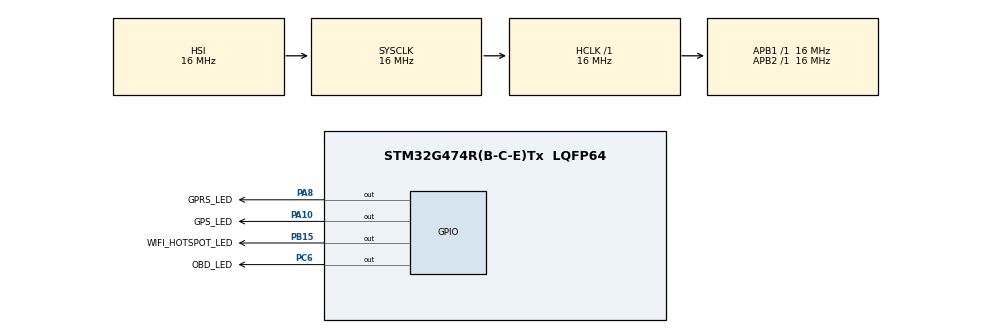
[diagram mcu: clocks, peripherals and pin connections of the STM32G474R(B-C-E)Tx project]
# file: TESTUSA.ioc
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Mcu.Family=STM32G4
Mcu.Name=STM32G474R(B-C-E)Tx
Mcu.Package=LQFP64
NVIC.PriorityGroup=NVIC_PRIORITYGROUP_4
PA10.GPIO_Label=GPS_LED
PA10.Signal=GPIO_Output
PA13.Mode=Serial_Wire
PA13.Signal=SYS_JTMS-SWDIO
PA14.Mode=Serial_Wire
PA14.Signal=SYS_JTCK-SWCLK
PA8.GPIO_Label=GPRS_LED
PA8.Signal=GPIO_Output
PB15.GPIO_Label=WIFI_HOTSPOT_LED
PB15.Signal=GPIO_Output
PC6.GPIO_Label=OBD_LED
PC6.Signal=GPIO_Output
ProjectManager.HeapSize=0x200
ProjectManager.StackSize=0x400
ProjectManager.TargetToolchain=STM32CubeIDE
RCC.ADC12Freq_Value=16000000
RCC.ADC345Freq_Value=16000000
RCC.AHBFreq_Value=16000000
RCC.APB1Freq_Value=16000000
RCC.APB1TimFreq_Value=16000000
RCC.APB2Freq_Value=16000000
RCC.APB2TimFreq_Value=16000000
RCC.CortexFreq_Value=16000000
RCC.EXTERNAL_CLOCK_VALUE=12288000
RCC.HCLKFreq_Value=16000000
RCC.HSE_VALUE=8000000
RCC.HSI48_VALUE=48000000
RCC.HSI_VALUE=16000000
RCC.LSE_VALUE=32768
RCC.SYSCLKFreq_VALUE=16000000
RCC.USBFreq_Value=64000000
RCC.VCOOutputFreq_Value=128000000
VP_SYS_VS_DBSignals.Mode=DisableDeadBatterySignals
board=custom

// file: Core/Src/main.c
/* USER CODE BEGIN Header */
/**
  ******************************************************************************
  * @file           : main.c
  * @brief          : Main program body
  ******************************************************************************
  * @attention
  *
  * Copyright (c) 2025 STMicroelectronics.
  * All rights reserved.
  *
  * This software is licensed under terms that can be found in the LICENSE file
  * in the root directory of this software component.
  * If no LICENSE file comes with this software, it is provided AS-IS.
  *
  ******************************************************************************
  */
/* USER CODE END Header */
#include "main.h"

void SystemClock_Config(void);
static void MX_GPIO_Init(void);

int main(void)
{

  /* USER CODE BEGIN 1 */
	int state = 0;
	uint32_t tickstart_1 = 0;
  /* USER CODE END 1 */

  /* MCU Configuration--------------------------------------------------------*/

  /* Reset of all peripherals, Initializes the Flash interface and the Systick. */
  HAL_Init();

  /* USER CODE BEGIN Init */
  SystemInit();
  /* USER CODE END Init */

  /* Configure the system clock */
  SystemClock_Config();

  /* USER CODE BEGIN SysInit */
  SystemCoreClockUpdate();
  /* USER CODE END SysInit */

  /* Initialize all configured peripherals */
  MX_GPIO_Init();
  /* USER CODE BEGIN 2 */
//  HAL_SYSTICK_Config(SystemCoreClock / 1000U);
  if (SysTick->CTRL == 0) {
      /* use CMSIS SysTick config */
      SysTick_Config(SystemCoreClock / 1000U);   // 1 ms tick
      /* ensure interrupt enabled */
      NVIC_SetPriority(SysTick_IRQn, (1UL << __NVIC_PRIO_BITS) - 1UL);
  }
  /* USER CODE END 2 */

  /* Infinite loop */
  while (1)
  {

    /* USER CODE BEGIN 3 */
	  if (state == 0) {
		  state = 1;
		  /*Configure GPIO pin Output Level */
			HAL_GPIO_WritePin(WIFI_HOTSPOT_LED_GPIO_Port, WIFI_HOTSPOT_LED_Pin, GPIO_PIN_RESET);

			/*Configure GPIO pin Output Level */
			HAL_GPIO_WritePin(OBD_LED_GPIO_Port, OBD_LED_Pin, GPIO_PIN_RESET);

			/*Configure GPIO pin Output Level */
			HAL_GPIO_WritePin(GPIOA, GPRS_LED_Pin|GPS_LED_Pin, GPIO_PIN_RESET);
	  } else {
		  state = 0;
		  /*Configure GPIO pin Output Level */
		    HAL_GPIO_WritePin(WIFI_HOTSPOT_LED_GPIO_Port, WIFI_HOTSPOT_LED_Pin, GPIO_PIN_SET);

		    /*Configure GPIO pin Output Level */
		    HAL_GPIO_WritePin(OBD_LED_GPIO_Port, OBD_LED_Pin, GPIO_PIN_SET);

		    /*Configure GPIO pin Output Level */
		    HAL_GPIO_WritePin(GPIOA, GPRS_LED_Pin|GPS_LED_Pin, GPIO_PIN_SET);
	  }
//	  if (tickstart_1 > 500){
//		  state = 0;
//	  }
	  HAL_Delay(500);
//	  tickstart_1 = HAL_GetTick();
  }
  /* USER CODE END 3 */
}

void SystemClock_Config(void)
{
  RCC_OscInitTypeDef RCC_OscInitStruct = {0};
  RCC_ClkInitTypeDef RCC_ClkInitStruct = {0};

  /** Configure the main internal regulator output voltage
  */
  HAL_PWREx_ControlVoltageScaling(PWR_REGULATOR_VOLTAGE_SCALE1);

  /** Initializes the RCC Oscillators according to the specified parameters
  * in the RCC_OscInitTypeDef structure.
  */
  RCC_OscInitStruct.OscillatorType = RCC_OSCILLATORTYPE_HSI;
  RCC_OscInitStruct.HSIState = RCC_HSI_ON;
  RCC_OscInitStruct.HSICalibrationValue = RCC_HSICALIBRATION_DEFAULT;
  RCC_OscInitStruct.PLL.PLLState = RCC_PLL_NONE;
  if (HAL_RCC_OscConfig(&RCC_OscInitStruct) != HAL_OK)
  {
    Error_Handler();
  }

  /** Initializes the CPU, AHB and APB buses clocks
  */
  RCC_ClkInitStruct.ClockType = RCC_CLOCKTYPE_HCLK|RCC_CLOCKTYPE_SYSCLK
                              |RCC_CLOCKTYPE_PCLK1|RCC_CLOCKTYPE_PCLK2;
  RCC_ClkInitStruct.SYSCLKSource = RCC_SYSCLKSOURCE_HSI;
  RCC_ClkInitStruct.AHBCLKDivider = RCC_SYSCLK_DIV1;
  RCC_ClkInitStruct.APB1CLKDivider = RCC_HCLK_DIV1;
  RCC_ClkInitStruct.APB2CLKDivider = RCC_HCLK_DIV1;

  if (HAL_RCC_ClockConfig(&RCC_ClkInitStruct, FLASH_LATENCY_0) != HAL_OK)
  {
    Error_Handler();
  }
  SystemCoreClockUpdate();
}

static void MX_GPIO_Init(void)
{
  GPIO_InitTypeDef GPIO_InitStruct = {0};

  /* GPIO Ports Clock Enable */
  __HAL_RCC_GPIOB_CLK_ENABLE();
  __HAL_RCC_GPIOC_CLK_ENABLE();
  __HAL_RCC_GPIOA_CLK_ENABLE();

  /*Configure GPIO pin Output Level */
  HAL_GPIO_WritePin(WIFI_HOTSPOT_LED_GPIO_Port, WIFI_HOTSPOT_LED_Pin, GPIO_PIN_RESET);

  /*Configure GPIO pin Output Level */
  HAL_GPIO_WritePin(OBD_LED_GPIO_Port, OBD_LED_Pin, GPIO_PIN_RESET);

  /*Configure GPIO pin Output Level */
  HAL_GPIO_WritePin(GPIOA, GPRS_LED_Pin|GPS_LED_Pin, GPIO_PIN_RESET);

  /*Configure GPIO pin : WIFI_HOTSPOT_LED_Pin */
  GPIO_InitStruct.Pin = WIFI_HOTSPOT_LED_Pin;
  GPIO_InitStruct.Mode = GPIO_MODE_OUTPUT_PP;
  GPIO_InitStruct.Pull = GPIO_NOPULL;
  GPIO_InitStruct.Speed = GPIO_SPEED_FREQ_LOW;
  HAL_GPIO_Init(WIFI_HOTSPOT_LED_GPIO_Port, &GPIO_InitStruct);

  /*Configure GPIO pin : OBD_LED_Pin */
  GPIO_InitStruct.Pin = OBD_LED_Pin;
  GPIO_InitStruct.Mode = GPIO_MODE_OUTPUT_PP;
  GPIO_InitStruct.Pull = GPIO_NOPULL;
  GPIO_InitStruct.Speed = GPIO_SPEED_FREQ_LOW;
  HAL_GPIO_Init(OBD_LED_GPIO_Port, &GPIO_InitStruct);

  /*Configure GPIO pins : GPRS_LED_Pin GPS_LED_Pin */
  GPIO_InitStruct.Pin = GPRS_LED_Pin|GPS_LED_Pin;
  GPIO_InitStruct.Mode = GPIO_MODE_OUTPUT_PP;
  GPIO_InitStruct.Pull = GPIO_NOPULL;
  GPIO_InitStruct.Speed = GPIO_SPEED_FREQ_LOW;
  HAL_GPIO_Init(GPIOA, &GPIO_InitStruct);

}

/* USER CODE BEGIN 4 */
#if 0
void SystemClock_Config(void)
{
	RCC_OscInitTypeDef RCC_OscInitStruct = {0};
    RCC_ClkInitTypeDef RCC_ClkInitStruct = {0};

    /** Configure the main internal regulator output voltage */
    HAL_PWREx_ControlVoltageScaling(PWR_REGULATOR_VOLTAGE_SCALE1);

    /** Initializes the CPU, AHB and APB busses clocks */
    RCC_OscInitStruct.OscillatorType = RCC_OSCILLATORTYPE_HSE;
    RCC_OscInitStruct.HSEState = RCC_HSE_ON;
    RCC_OscInitStruct.PLL.PLLState = RCC_PLL_ON;
    RCC_OscInitStruct.PLL.PLLSource = RCC_PLLSOURCE_HSE;

    // HSE = 8 MHz
    // PLLM = 2 → 4 MHz
    // PLLN = 85 → 340 MHz VCO
    // PLLR = 2 → 170 MHz SYSCLK
    RCC_OscInitStruct.PLL.PLLM = RCC_PLLM_DIV2;
    RCC_OscInitStruct.PLL.PLLN = 85;
    RCC_OscInitStruct.PLL.PLLR = RCC_PLLR_DIV2;
    RCC_OscInitStruct.PLL.PLLP = RCC_PLLP_DIV2;
    RCC_OscInitStruct.PLL.PLLQ = RCC_PLLQ_DIV2;

    if (HAL_RCC_OscConfig(&RCC_OscInitStruct) != HAL_OK)
    {
        Error_Handler();
    }

    /** Initializes the CPU, AHB and APB busses clocks */
    RCC_ClkInitStruct.ClockType = RCC_CLOCKTYPE_HCLK |
                                  RCC_CLOCKTYPE_SYSCLK |
                                  RCC_CLOCKTYPE_PCLK1 |
                                  RCC_CLOCKTYPE_PCLK2;

    RCC_ClkInitStruct.SYSCLKSource = RCC_SYSCLKSOURCE_PLLCLK;

    RCC_ClkInitStruct.AHBCLKDivider  = RCC_SYSCLK_DIV1;  // 170 MHz
    RCC_ClkInitStruct.APB1CLKDivider = RCC_HCLK_DIV1;    // 170 MHz
    RCC_ClkInitStruct.APB2CLKDivider = RCC_HCLK_DIV1;    // 170 MHz

    if (HAL_RCC_ClockConfig(&RCC_ClkInitStruct, FLASH_LATENCY_8) != HAL_OK)
    {
        Error_Handler();
    }

}
#endif
/* USER CODE END 4 */

void Error_Handler(void)
{
  __disable_irq();
  while (1)
  {
  }
}
